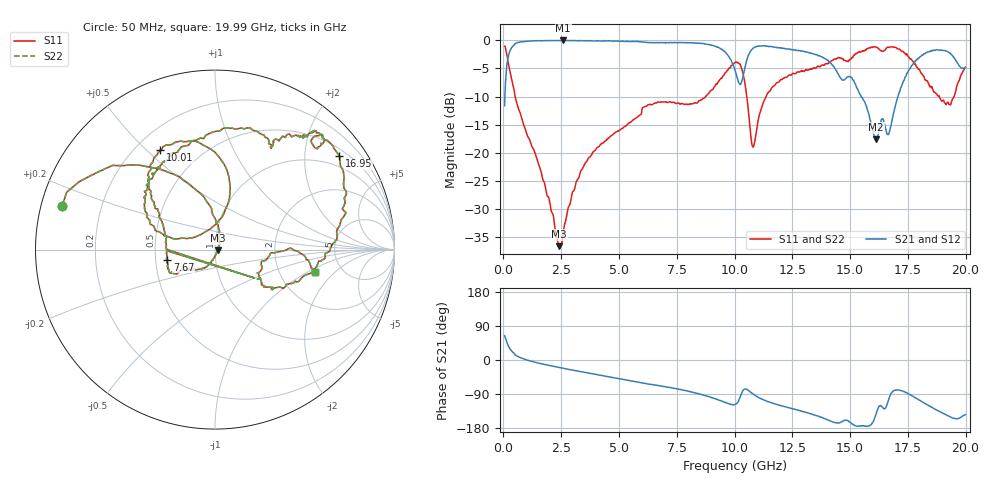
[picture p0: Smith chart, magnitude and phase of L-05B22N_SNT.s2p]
! Data Taken on a HP 8720C VNA using a shunt-through fixture with TRL* de-embedding
#	mhz	s	ma	r	50
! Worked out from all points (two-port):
!   998 points, 50 MHz to 19.99 GHz, reference 50 ohm
!   highest |S21| = -0.03 dB at 2.59 GHz (marker M1); lowest = -17.6 dB at 16.13 GHz (marker M2)
!   |S21| within 3 dB of the highest: 202.6 MHz to 9.781 GHz (9.578 GHz wide, 192 % of centre); 10.57 GHz to 13.82 GHz (3.252 GHz wide, 26.7 % of centre) (the widest 2 of 3)
!   lowest |S11| = -36.5 dB at 2.41 GHz (marker M3), VSWR 1.03, Z = 51.5 - j0.395 ohm
!   |S11| at or under -10 dB: 504.4 MHz to 8.742 GHz (8.238 GHz wide, 178 % of centre); 10.53 GHz to 11.36 GHz (833.2 MHz wide, 7.61 % of centre); 18.87 GHz to 19.5 GHz (630.6 MHz wide, 3.29 % of centre)
!   |S22| runs from -36.5 to -1.1 dB; largest |S21 - S12| = 0
!   S11 on the Smith chart (normalised r, x): 50 MHz: 0.06, +0.14; 7.67 GHz: 0.58, -0.07; 10.01 GHz: 0.30, +0.55; 16.95 GHz: 0.68, +2.85; 19.99 GHz: 3.20, -1.18
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50  0.8857 164.0  0.2622 64.1  0.2622 64.1  0.8857 164.0
230  0.5959 129.2  0.7444 34.9  0.7444 34.9  0.5959 129.2
570  0.281 100.5  0.9482 11.1  0.9482 11.1  0.281 100.5
2410  0.01488 -14.9  0.9945 -19.7  0.9945 -19.7  0.01488 -14.9
2590  0.02004 -65.3  0.9963 -21.9  0.9963 -21.9  0.02004 -65.3
3390  0.07105 -106.1  0.9912 -31.1  0.9912 -31.1  0.07105 -106.1
6710  0.2829 -152.6  0.9521 -67.3  0.9521 -67.3  0.2829 -152.6
7670  0.2724 -168.2  0.9511 -78.1  0.9511 -78.1  0.2724 -168.2
9110  0.3816 146.0  0.894 -101.3  0.894 -101.3  0.3816 146.0
10010  0.6328 119.0  0.5511 -117.8  0.5511 -117.8  0.6328 119.0
10030  0.6345 117.7  0.5326 -117.3  0.5326 -117.3  0.6345 117.7
10470  0.3905 78.1  0.5991 -76.5  0.5991 -76.5  0.3905 78.1
10810  0.1127 124.9  0.8519 -90.3  0.8519 -90.3  0.1127 124.9
11570  0.3648 159.1  0.8794 -112.6  0.8794 -112.6  0.3648 159.1
13350  0.5604 123.0  0.765 -142.9  0.765 -142.9  0.5604 123.0
15090  0.7049 60.0  0.4582 -168.9  0.4582 -168.9  0.7049 60.0
16130  0.8632 46.1  0.1322 -141.2  0.1322 -141.2  0.8632 46.1
16670  0.8682 46.2  0.1475 -104.1  0.1475 -104.1  0.8682 46.2
16950  0.8663 36.9  0.2556 -79.9  0.2556 -79.9  0.8663 36.9
18270  0.4434 -27.1  0.7727 -115.6  0.7727 -115.6  0.4434 -27.1
19310  0.2684 -15.3  0.7736 -149.3  0.7736 -149.3  0.2684 -15.3
19990  0.5721 -12.6  0.5769 -144.1  0.5769 -144.1  0.5721 -12.6
